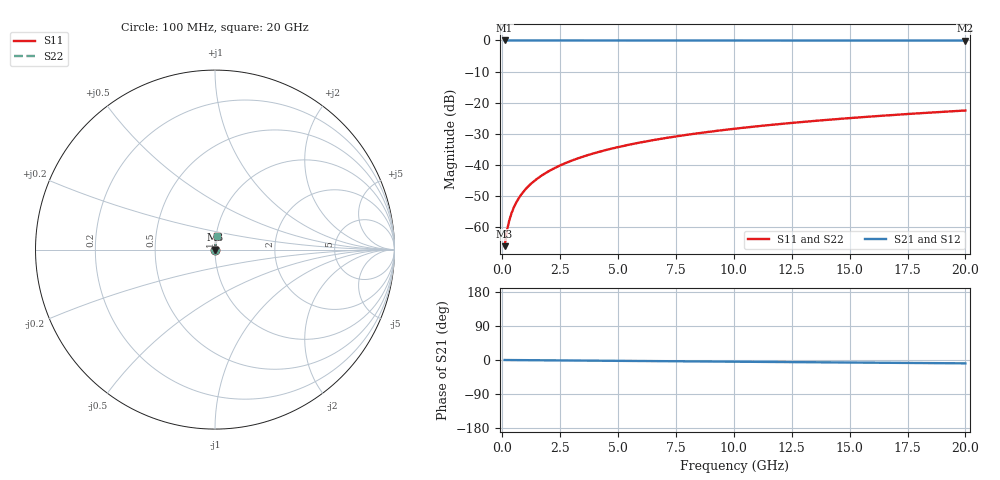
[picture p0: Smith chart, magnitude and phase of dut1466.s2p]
! Touchstone file exported from HFSS 2026.1.0
!  File:  C:/ffzhzh/LocalFiles/Ansys_Project_Files/temp_train_TSV_1466_1783198243_18472.aedt
!  Generated:  04:52:40 AM Jul  5, 2026
!  Design:  TSV
!  Project:  temp_train_TSV_1466_1783198243_18472
! Variables:
!  h_bsmrdl = 2um
!  h_ox = 20um
!  h_rdl = 5um
!  h_sub = 72.32um
!  h_tmrdl = 5um
!  h_tsv = 72.32um
!  h_via = 3um
!  l_bsmrdl = 300um
!  l_sub = 411.96um
!  l_tmrdl = 200um
!  m_sub = 200um
!  pitch = 51.33um
!  r_tsv = 5.98um
!  s_tmrdl = 10um
!  w_bsmrdl = 18um
!  w_sub = 500um
!  w_tmrdl = 12um
!  x_tsv_center1 = 206um
!  x_tsv_center2 = 524um
!  x_tsv_center3 = 736um
!  x_tsv_center4 = 1054um
!  x_tsv_center5 = 1266um
!  x_tsv_center6 = 1584um
# GHz S MA R 50.000000
! Terminal data exported
! Port[1] = TSV1_1_T1
! Port[2] = TSV1_1_T2
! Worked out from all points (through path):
!   200 points, 100 MHz to 20 GHz, reference 50 ohm
!   highest |S21| = 0.00 dB at 100 MHz (marker M1); lowest = 0.0 dB at 20 GHz (marker M2)
!   group delay of S21, straight-line fit = 1.23 ps
!   lowest |S11| = -66.2 dB at 100 MHz (marker M3), VSWR 1.00, Z = 50 + j0.0415 ohm
!   |S11| at or under -10 dB: start of sweep to end of sweep
!   |S22| runs from -66.2 to -22.5 dB; largest |S21 - S12| = 6.5e-15
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0.1  0.0004924 57.4  0.9997 -0.0  0.9997 -0.0  0.0004924 57.4
! Gamma 0 0 0 0
! Port Impedance 50 0 50 0
0.2  0.0008725 71.7  0.9997 -0.1  0.9997 -0.1  0.0008725 71.7
0.3  0.001272 76.8  0.9997 -0.1  0.9997 -0.1  0.001272 76.8
0.4  0.001673 79.4  0.9997 -0.2  0.9997 -0.2  0.001673 79.4
0.5  0.002073 80.9  0.9997 -0.2  0.9997 -0.2  0.002073 80.9
0.6  0.00247 81.8  0.9997 -0.3  0.9997 -0.3  0.00247 81.8
0.7  0.002864 82.5  0.9996 -0.3  0.9996 -0.3  0.002864 82.5
0.8  0.003256 83.0  0.9996 -0.4  0.9996 -0.4  0.003256 83.0
1  0.004034 83.7  0.9996 -0.5  0.9996 -0.5  0.004034 83.7
1.4  0.005577 84.6  0.9995 -0.6  0.9995 -0.6  0.005577 84.6
1.7  0.00673 84.9  0.9995 -0.8  0.9995 -0.8  0.00673 84.9
2  0.00788 85.2  0.9994 -0.9  0.9994 -0.9  0.00788 85.2
2.7  0.01056 85.5  0.9993 -1.2  0.9993 -1.2  0.01056 85.5
3.5  0.0136 85.5  0.9992 -1.6  0.9992 -1.6  0.0136 85.5
4.2  0.01625 85.4  0.9991 -1.9  0.9991 -1.9  0.01625 85.4
5  0.01927 85.3  0.999 -2.2  0.999 -2.2  0.01927 85.3
6.8  0.02602 84.8  0.9987 -3.0  0.9987 -3.0  0.02602 84.8
8.3  0.03162 84.3  0.9984 -3.7  0.9984 -3.7  0.03162 84.3
10.1  0.03832 83.7  0.9981 -4.5  0.9981 -4.5  0.03832 83.7
13.4  0.05054 82.5  0.9974 -5.9  0.9974 -5.9  0.05054 82.5
16.7  0.06269 81.2  0.9965 -7.4  0.9965 -7.4  0.06269 81.2
20  0.07473 79.9  0.9955 -8.8  0.9955 -8.8  0.07473 79.9
